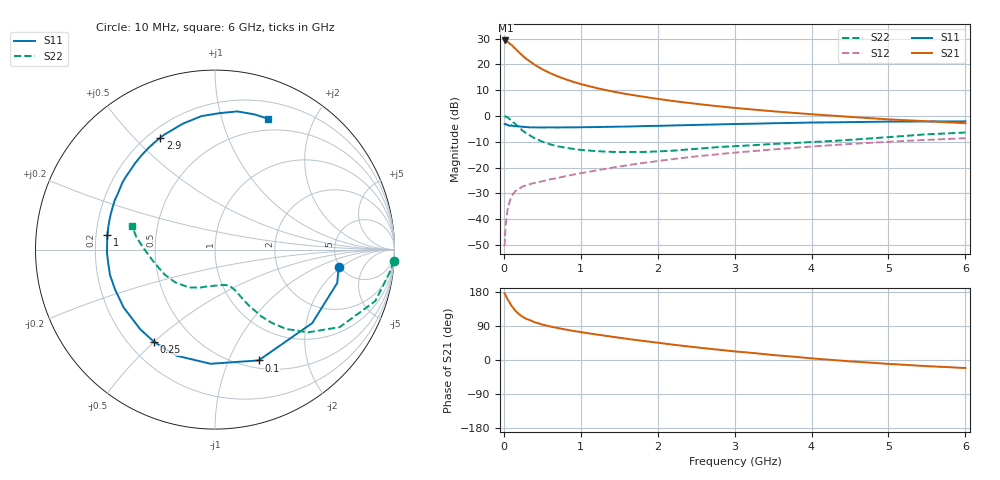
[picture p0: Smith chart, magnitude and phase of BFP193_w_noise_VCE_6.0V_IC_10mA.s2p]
! Infineon Technologies  Discrete & RF Semiconductors
! BFP193
! VCE =  6.0 V,  IC =  10 mA
! Common Emitter S-Parameters:  Jan 2017
# GHz  S  MA  R  50
!  f  S11  S21  S12  S22
! GHz  MAG  ANG  MAG  ANG  MAG  ANG  MAG  ANG
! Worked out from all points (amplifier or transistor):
!   77 points, 10 MHz to 6 GHz, reference 50 ohm
!   highest |S21| = 29.3 dB at 20 MHz (marker M1)
!   |S21| within 3 dB of that: start of sweep to 142.1 MHz
!   unconditionally stable (mu >= 1): 1.134 GHz to 2.567 GHz
!   at 130 MHz: K = 0.23, MSG = 28.3 dB, |S12| = -29.9 dB
!   at 2.2 GHz: K = 1.03, MAG = 10.2 dB, |S12| = -16.7 dB
!   at 6 GHz: K = 0.87, MSG = 2.9 dB, |S12| = -8.6 dB
!   lowest NFmin = 0.87 dB at 450 MHz
!   S11 on the Smith chart (normalised r, x): 10 MHz: 4.89, -1.79; 100 MHz: 0.59, -1.29; 250 MHz: 0.30, -0.50; 1 GHz: 0.25, +0.06; 2.9 GHz: 0.25, +0.60; 6 GHz: 0.37, +1.42
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0.01  0.6956 -7.8  29.03 175.7  0.003 93.0  0.9985 -3.7
0.02  0.706 -15.3  29.11 171.6  0.0062 85.5  0.9808 -7.5
0.05  0.679 -37.1  27.5 159.5  0.0155 73.3  0.9381 -17.8
0.1  0.6637 -68.5  23.95 142.7  0.0278 61.2  0.8179 -31.9
0.15  0.6366 -92.2  20.07 129.8  0.0351 52.5  0.6928 -41.7
0.2  0.6288 -109.9  16.96 120.5  0.0391 48.1  0.5926 -48.2
0.25  0.6164 -123.3  14.47 113.1  0.0433 45.2  0.5131 -52.4
0.3  0.6087 -133.3  12.52 107.9  0.0461 43.7  0.4521 -55.3
0.4  0.6026 -147.8  9.846 99.6  0.0505 42.6  0.3701 -58.5
0.5  0.5996 -158.4  8.033 93.5  0.0544 43.4  0.3184 -60.6
0.6  0.6018 -166.5  6.796 88.6  0.0593 44.8  0.2832 -62.0
0.7  0.5997 -172.9  5.863 84.4  0.0628 46.3  0.2588 -63.1
0.9  0.6021 176.7  4.602 76.9  0.0729 48.7  0.2304 -66.1
1  0.6048 172.3  4.168 73.6  0.078 49.8  0.2201 -67.9
1.1  0.6075 168.1  3.806 70.5  0.0827 50.2  0.2143 -69.8
1.5  0.6225 153.9  2.823 58.8  0.1049 51.8  0.2 -80.6
2.1  0.6493 135.4  2.047 43.1  0.1399 50.4  0.2091 -100.8
2.9  0.6936 116.1  1.487 24.9  0.1885 45.1  0.2552 -125.4
3.1  0.7032 111.9  1.393 21.0  0.2004 43.4  0.2648 -130.8
4.1  0.7493 94.1  1.057 2.8  0.2618 34.1  0.3182 -156.8
5.1  0.7799 79.4  0.846 -11.4  0.3221 23.3  0.3998 178.4
6  0.7868 67.8  0.725 -21.2  0.3709 13.1  0.4783 164.3
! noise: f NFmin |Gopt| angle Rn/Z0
0.45  0.87  0.21  156  0.07
0.9  1  0.35  173  0.06
1.9  1.75  0.57  -146  0.13
2.4  2.13  0.63  -128  0.31
